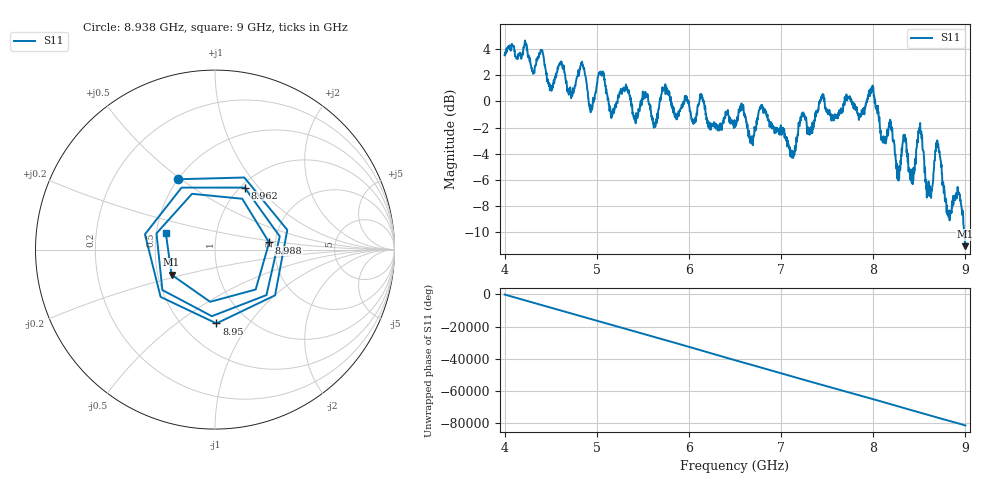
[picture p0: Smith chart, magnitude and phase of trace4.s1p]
! Created with skrf 1.8.0 (http://scikit-rf.org).
# Hz S RI R 50.0
!freq ReS11 ImS11
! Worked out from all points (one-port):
!   1601 points, 4 GHz to 9 GHz, reference 50 ohm
!   lowest |S11| = -11.1 dB at 8.997 GHz (marker M1), VSWR 1.78, Z = 29.5 - j8.98 ohm
!   |S11| at or under -10 dB: 8.985179 GHz to 8.990716 GHz (5.537 MHz wide, 0.0616 % of centre); 8.991145 GHz to end of sweep
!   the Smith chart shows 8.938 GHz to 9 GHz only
!   S11 on the Smith chart (normalised r, x): 8.938 GHz: 0.50, +0.49; 8.95 GHz: 0.72, -0.71; 8.962 GHz: 1.05, +0.85; 8.988 GHz: 1.85, +0.16; 9 GHz: 0.56, +0.11
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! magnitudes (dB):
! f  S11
! 4 GHz  3.5
! 4.625 GHz  2.7
! 4.712 GHz  1.1
! 4.847 GHz  2.8
! 4.931 GHz  -0.4
! 5.044 GHz  2.3
! 5.162 GHz  -0.9
! 5.25 GHz  0.7
! 5.875 GHz  -1.0
! 6.5 GHz  -1.9
! 6.8 GHz  -0.6
! 7.125 GHz  -3.8
! 7.234 GHz  -0.9
! 7.75 GHz  0.3
! 7.988 GHz  0.9
! 8.269 GHz  -5.6
! 8.375 GHz  -4.6
! 8.425 GHz  -5.5
! 8.506 GHz  -2.3
! 8.603 GHz  -6.8
! 8.697 GHz  -3.0
! 8.809 GHz  -8.6
! 8.938 GHz  -7.1
! 8.95 GHz  -7.7
! 8.962 GHz  -8.3
! 8.988 GHz  -10.3
! 8.997 GHz  -11.1
! 9 GHz  -10.8
